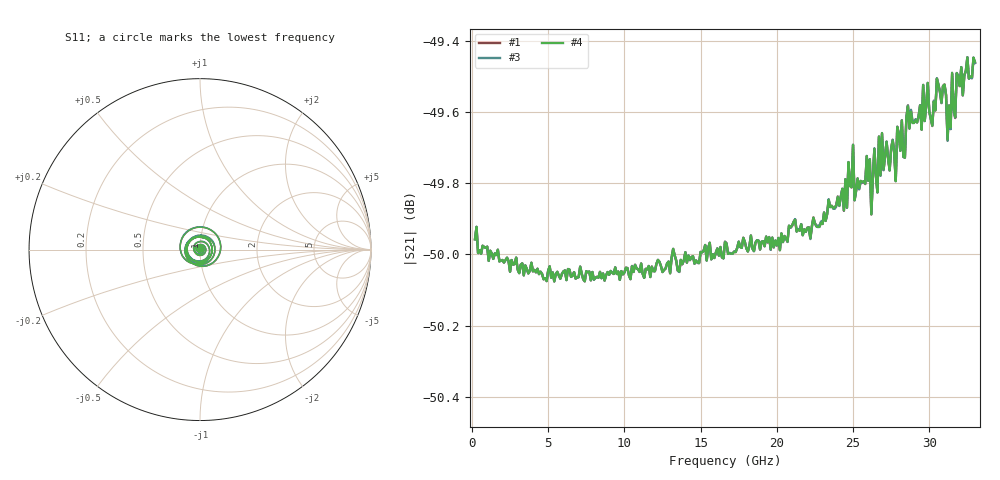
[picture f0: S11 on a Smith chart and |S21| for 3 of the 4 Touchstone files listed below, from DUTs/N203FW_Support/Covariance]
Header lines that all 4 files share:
# GHZ S RI R 50
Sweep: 200 MHz to 33 GHz
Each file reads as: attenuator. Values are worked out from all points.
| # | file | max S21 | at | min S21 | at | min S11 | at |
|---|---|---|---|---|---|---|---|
| 1 | N203FW_5.s2p | -49.45 dB | 32.5 GHz | -50.1 dB | 7.4 GHz | -47.6 dB | 2.3 GHz |
| 2 | N203FW_6.s2p | -49.45 dB | 32.5 GHz | -50.1 dB | 7.4 GHz | -47.6 dB | 2.3 GHz |
| 3 | N203FW_10.s2p | -49.45 dB | 32.5 GHz | -50.1 dB | 5.4 GHz | -47.0 dB | 2.5 GHz |
| 4 | N203FW_12.s2p | -49.45 dB | 32.5 GHz | -50.1 dB | 5.4 GHz | -47.5 dB | 2.3 GHz |
